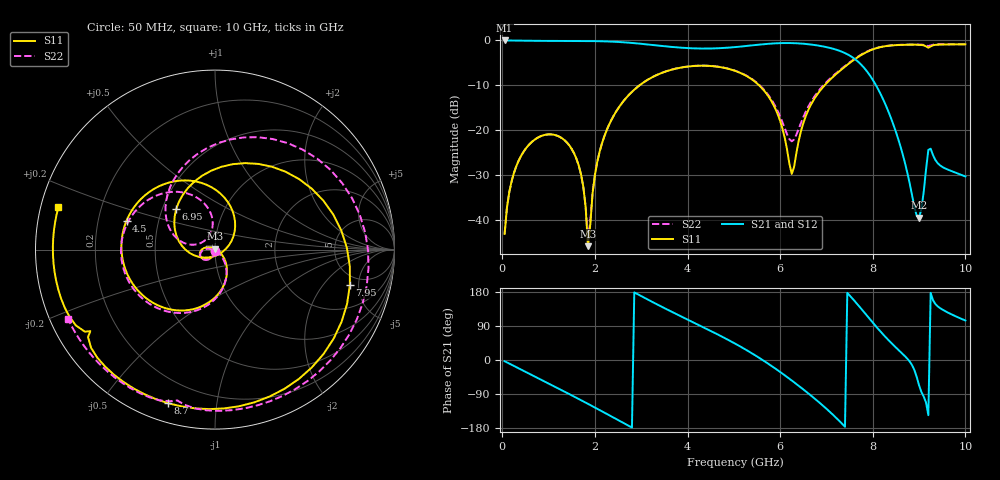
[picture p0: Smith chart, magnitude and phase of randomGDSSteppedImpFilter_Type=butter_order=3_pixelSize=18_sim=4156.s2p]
! freq	dB(S11)	phase(S11)	dB(S12)	phase(S12)
!  dB(S21)	phase(S21)	dB(S22)	phase(S22)
!S-par simulation data
#  GHz  S  DB  R 50
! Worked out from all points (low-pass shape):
!   200 points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, 50 MHz to 10 GHz, reference 50 ohm
!   highest |S21| = -0.01 dB at 50 MHz (marker M1); lowest = -39.5 dB at 9 GHz (marker M2)
!   |S21| within 3 dB of the highest: start of sweep to 7.436 GHz
!   lowest |S11| = -45.9 dB at 1.85 GHz (marker M3), VSWR 1.01, Z = 49.9 + j0.502 ohm
!   |S11| at or under -10 dB: start of sweep to 2.965 GHz; 5.544 GHz to 6.961 GHz (1.416 GHz wide, 22.7 % of centre)
!   |S22| runs from -44.6 to -0.9 dB; largest |S21 - S12| = 0
!   S11 on the Smith chart (normalised r, x): 50 MHz: 1.00, -0.01; 4.5 GHz: 0.32, +0.14; 6.95 GHz: 0.59, +0.29; 7.95 GHz: 3.94, -3.92; 8.7 GHz: 0.09, -0.74; 10 GHz: 0.05, +0.13
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0.05  -43.14 -90.7  -0.01 -3.2  -0.01 -3.2  -43.14 -90.5
0.25  -29.60 -105.6  -0.03 -15.7  -0.03 -15.7  -29.60 -104.9
0.75  -21.77 -138.3  -0.09 -46.6  -0.09 -46.6  -21.77 -136.0
1.4  -22.81 179.1  -0.12 -87.0  -0.12 -87.0  -22.82 -174.2
1.75  -32.68 149.4  -0.13 -109.2  -0.13 -109.2  -32.68 173.1
1.85  -45.87 98.6  -0.14 -115.7  -0.14 -115.7  -44.55 -143.6
2  -30.02 -29.6  -0.16 -125.4  -0.16 -125.4  -29.90 -45.1
2.25  -20.13 -51.4  -0.22 -141.9  -0.22 -141.9  -20.10 -54.7
3.4  -7.42 -129.6  -1.19 143.2  -1.19 143.2  -7.41 -125.0
4.5  -5.70 161.8  -1.80 76.8  -1.80 76.8  -5.68 172.5
5.05  -6.87 124.7  -1.46 41.7  -1.46 41.7  -6.82 140.9
5.85  -14.26 54.9  -0.68 -18.7  -0.68 -18.7  -13.84 96.7
6.25  -29.76 -58.9  -0.59 -54.1  -0.59 -54.1  -22.49 132.0
6.7  -13.68 166.8  -0.96 -97.3  -0.96 -97.3  -13.13 163.7
6.95  -10.12 133.9  -1.38 -123.3  -1.38 -123.3  -9.82 147.3
7.5  -5.04 55.6  -3.36 170.5  -3.36 170.5  -4.90 94.2
7.95  -2.19 -14.7  -7.98 105.9  -7.98 105.9  -2.14 34.7
8.35  -1.18 -69.6  -16.18 51.1  -16.18 51.1  -1.16 -19.8
8.7  -0.97 -107.0  -27.51 9.4  -27.51 9.4  -0.95 -60.0
9  -0.97 -133.2  -39.51 -66.8  -39.51 -66.8  -0.93 -88.6
9.2  -1.62 -146.8  -24.41 -145.6  -24.41 -145.6  -1.25 -104.0
10  -0.88 164.8  -30.33 104.2  -30.33 104.2  -0.86 -154.9
